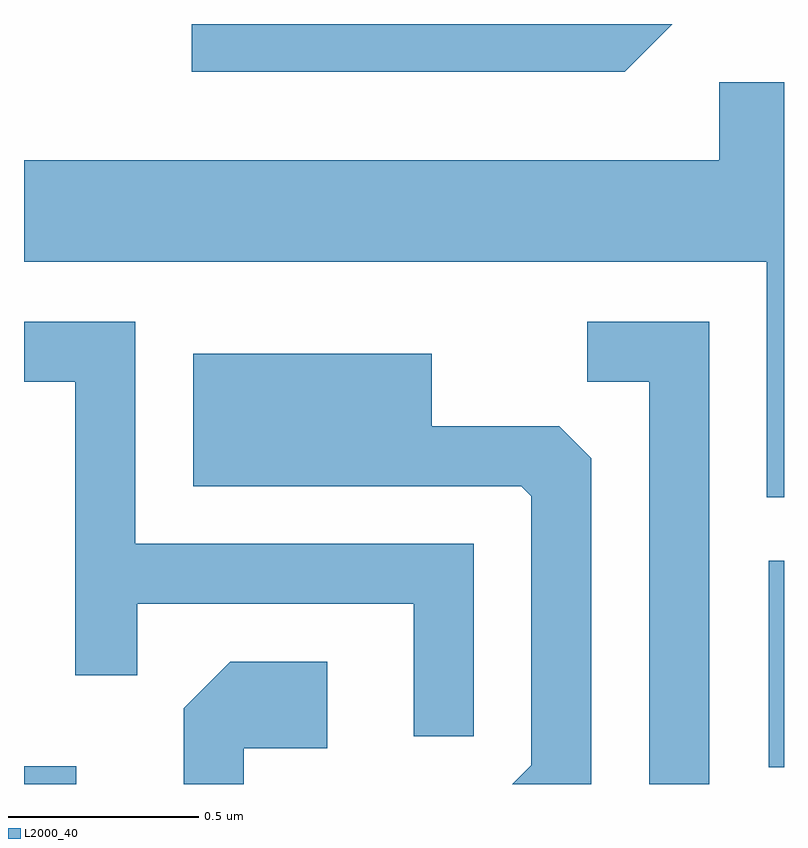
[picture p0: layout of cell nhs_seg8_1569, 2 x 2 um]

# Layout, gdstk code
import gdstk
lib = gdstk.Library(unit=1e-6, precision=1e-09)
def R(c, l, rs):  # rectangles x0, y0, x1, y1
    for r in rs: c.add(gdstk.rectangle(r[:2], r[2:], *l))
def P(c, l, *ps):  # polygons
    for p in ps: c.add(gdstk.Polygon(p, *l))
L2000_40 = (2000, 40)

nhs_seg8_1569 = lib.new_cell('nhs_seg8_1569')
R(nhs_seg8_1569, L2000_40, [(196.611,1868.342,196.748,1868.389), (198.571,1868.386,198.611,1868.929)])
P(nhs_seg8_1569, L2000_40, [(198.317,1870.342),(197.053,1870.342),(197.053,1870.216),(198.192,1870.216)],
  [(198.611,1870.189),(198.441,1870.189),(198.441,1869.984),(196.611,1869.984),(196.611,1869.716),(198.566,1869.716),(198.566,1869.096),(198.611,1869.096)],
  [(198.414,1869.559),(198.093,1869.559),(198.093,1869.401),(198.256,1869.401),(198.256,1868.342),(198.414,1868.342)],
  [(197.794,1868.974),(196.904,1868.974),(196.904,1869.559),(196.611,1869.559),(196.611,1869.401),(196.746,1869.401),(196.746,1868.628),(196.909,1868.628),(196.909,1868.816),(197.636,1868.816),(197.636,1868.468),(197.794,1868.468)],
  [(198.104,1869.199),(198.019,1869.284),(197.684,1869.284),(197.684,1869.474),(197.056,1869.474),(197.056,1869.126),(197.919,1869.126),(197.946,1869.099),(197.946,1868.392),(197.896,1868.342),(198.104,1868.342)],
  [(197.189,1868.436),(197.409,1868.436),(197.409,1868.664),(197.154,1868.664),(197.031,1868.542),(197.031,1868.342),(197.189,1868.342)])

lib.write_gds('nhs_seg8_1569.gds')
